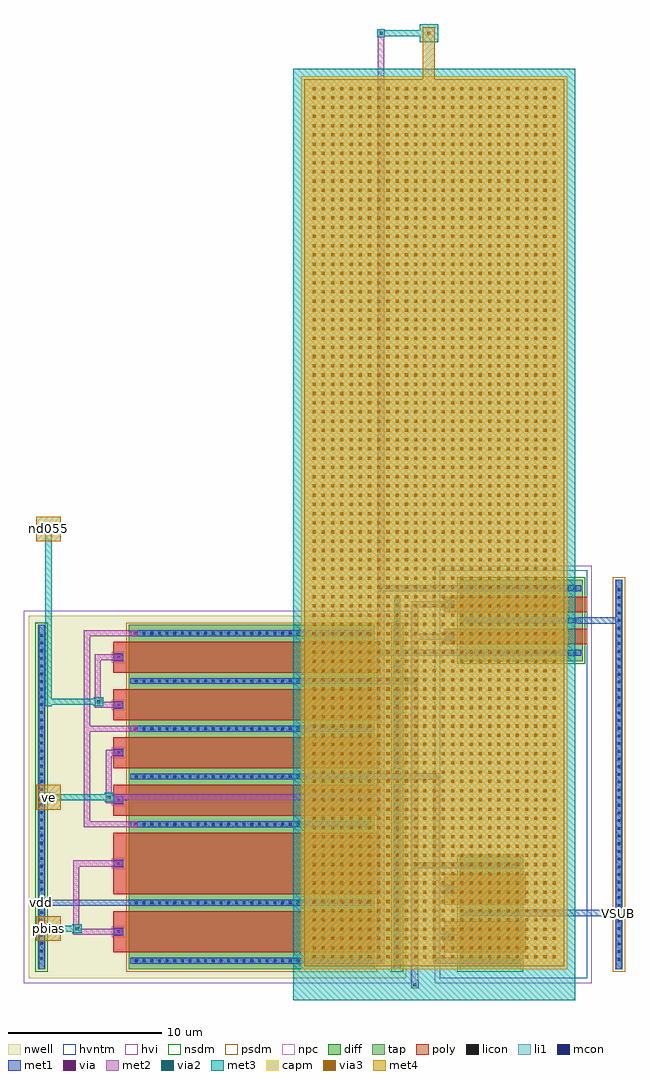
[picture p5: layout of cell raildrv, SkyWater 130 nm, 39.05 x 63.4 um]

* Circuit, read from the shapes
.subckt raildrv VSUB nd055 pbias vdd ve
XM1 VSUB n1 n1 VSUB sky130_fd_pr__nfet_g5v0d10v5 w=4 l=2
XM2 n2 n1 VSUB VSUB sky130_fd_pr__nfet_g5v0d10v5 w=4 l=2
XM3 VSUB n2 ve VSUB sky130_fd_pr__nfet_g5v0d10v5 w=8 l=1 m=2
XM4 vdd pbias ve vdd sky130_fd_pr__pfet_g5v0d10v5 w=16 l=2.67
XM5 n3 pbias vdd vdd sky130_fd_pr__pfet_g5v0d10v5 w=16 l=4
XM6 n1 ve n3 vdd sky130_fd_pr__pfet_g5v0d10v5 w=16 l=2 m=2
XM7 n2 nd055 n3 vdd sky130_fd_pr__pfet_g5v0d10v5 w=16 l=2 m=2
XC8 ve n2 sky130_fd_pr__cap_mim_m3_1 w=17.3 l=58
.ends

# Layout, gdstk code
import gdstk
lib = gdstk.Library(unit=1e-6, precision=1e-09)
def R(c, l, rs):  # rectangles x0, y0, x1, y1
    for r in rs: c.add(gdstk.rectangle(r[:2], r[2:], *l))
def A(c, l, x, y, w, h, nx, ny, dx, dy):  # array of equal rectangles
    R(c, l, [(x+i*dx, y+j*dy, x+i*dx+w, y+j*dy+h) for i in range(nx) for j in range(ny)])
nwell = (64, 20)
diff = (65, 20)
tap = (65, 44)
poly = (66, 20)
licon = (66, 44)
li1 = (67, 20)
mcon = (67, 44)
met1 = (68, 20)
via = (68, 44)
met2 = (69, 20)
via2 = (69, 44)
met3 = (70, 20)
via3 = (70, 44)
met4 = (71, 20)
hvi = (75, 20)
capm = (89, 44)
nsdm = (93, 44)
psdm = (94, 20)
npc = (95, 20)
hvntm = (125, 20)

raildrv = lib.new_cell('raildrv')
R(raildrv, nwell, [(-25.5,0.4,-0.95,23.97)])
R(raildrv, diff, [(-19,1,-3,23.37), (2.5,1,6.5,8.3), (2.5,21,10.5,26.3)])
R(raildrv, tap, [(-24.9,1,-24.4,23.37), (-1.8,1,-1.3,23.37), (12.6,1,13.1,26.3)])
A(raildrv, poly, -20, 10.97, 17.3, 2, 1, 4, 0, 3.1)
R(raildrv, poly, [(-20,2.1,-2.7,4.77), (1.5,2.1,6.8,4.1), (1.5,5.2,6.8,7.2), (-20,5.87,-2.7,9.87), (1.5,22.1,10.8,23.1), (1.5,24.2,10.8,25.2)])
A(raildrv, licon, -1.635, 1.425, 0.17, 0.17, 1, 23, 0, 0.5)
A(raildrv, licon, -18.585, 1.465, 0.17, 0.17, 31, 2, 0.5, 3.77)
A(raildrv, licon, 2.915, 1.465, 0.17, 0.17, 7, 3, 0.5, 3.1)
A(raildrv, licon, 12.765, 1.565, 0.17, 0.17, 1, 49, 0, 0.5)
A(raildrv, licon, -24.735, 1.6, 0.17, 0.17, 1, 43, 0, 0.5)
A(raildrv, licon, -18.585, 10.335, 0.17, 0.17, 31, 5, 0.5, 3.1)
A(raildrv, licon, -19.735, 11.885, 0.17, 0.17, 1, 4, 0, 3.1)
A(raildrv, licon, -1.635, 14.535, 0.17, 0.17, 1, 9, 0, 0.5)
A(raildrv, licon, 2.915, 21.465, 0.17, 0.17, 15, 3, 0.5, 2.1)
A(raildrv, licon, -1.635, 22.565, 0.17, 0.17, 1, 5, 0, 0.5)
R(raildrv, licon, [(1.765,3.015,1.935,3.185), (-19.735,3.35,-19.565,3.52), (1.765,6.115,1.935,6.285), (-19.735,7.785,-19.565,7.955), (-1.635,20.55,-1.465,20.72), (1.765,22.515,1.935,22.685), (1.765,24.615,1.935,24.785)])
A(raildrv, li1, 2.6, 1.36, 3.8, 0.38, 1, 3, 0, 3.1)
A(raildrv, li1, -18.9, 10.23, 15.8, 0.38, 1, 5, 0, 3.1)
A(raildrv, li1, -19.95, 11.72, 0.6, 0.5, 1, 4, 0, 3.1)
A(raildrv, li1, 2.6, 21.36, 7.8, 0.38, 1, 3, 0, 2.1)
R(raildrv, li1, [(-24.85,1,-24.45,23.37), (-1.75,1,-1.35,13.02), (12.65,1,13.05,26.3), (-18.9,1.36,-3.1,1.74), (1.55,2.85,2.15,3.35), (-19.95,3.185,-19.35,3.685), (-18.9,5.13,-3.1,5.51), (1.55,5.95,2.15,6.45), (-19.95,7.62,-19.35,8.12), (-1.75,14.02,-1.35,19.22), (-1.75,20.22,-1.35,21.05), (-1.75,22.05,-1.35,25.25), (1.55,22.35,2.15,22.85), (1.55,24.45,2.15,24.95)])
A(raildrv, mcon, -1.635, 1.425, 0.17, 0.17, 1, 23, 0, 0.5)
A(raildrv, mcon, -18.585, 1.465, 0.17, 0.17, 31, 2, 0.5, 3.77)
A(raildrv, mcon, 2.915, 1.465, 0.17, 0.17, 7, 3, 0.5, 3.1)
A(raildrv, mcon, 12.765, 1.565, 0.17, 0.17, 1, 49, 0, 0.5)
A(raildrv, mcon, -24.735, 1.6, 0.17, 0.17, 1, 43, 0, 0.5)
A(raildrv, mcon, -18.585, 10.335, 0.17, 0.17, 31, 5, 0.5, 3.1)
A(raildrv, mcon, -19.735, 11.885, 0.17, 0.17, 1, 4, 0, 3.1)
A(raildrv, mcon, -1.635, 14.535, 0.17, 0.17, 1, 9, 0, 0.5)
A(raildrv, mcon, 2.915, 21.465, 0.17, 0.17, 15, 3, 0.5, 2.1)
A(raildrv, mcon, -1.635, 22.565, 0.17, 0.17, 1, 5, 0, 0.5)
R(raildrv, mcon, [(1.765,3.015,1.935,3.185), (-19.735,3.35,-19.565,3.52), (1.765,6.115,1.935,6.285), (-19.735,7.785,-19.565,7.955), (-1.635,20.55,-1.465,20.72), (1.765,22.515,1.935,22.685), (1.765,24.615,1.935,24.785)])
A(raildrv, met1, 2.6, 1.36, 3.8, 0.38, 1, 3, 0, 3.1)
A(raildrv, met1, -18.9, 10.23, 15.8, 0.38, 1, 5, 0, 3.1)
A(raildrv, met1, -18.79, 10.23, 0.38, 0.38, 1, 3, 0, 6.2)
A(raildrv, met1, -19.95, 11.72, 0.6, 0.5, 1, 4, 0, 3.1)
A(raildrv, met1, -19.84, 11.78, 0.38, 0.38, 1, 4, 0, 3.1)
A(raildrv, met1, 2.6, 21.36, 7.8, 0.38, 1, 3, 0, 2.1)
R(raildrv, met1, [(-24.85,1,-24.45,23.37), (-1.75,1,-1.35,13.02), (12.65,1,13.05,26.3), (-3.3,1.35,-2.4,1.75), (0.8,1.35,2.8,1.75), (-18.9,1.36,-3.1,1.74), (-2.79,1.36,-2.41,1.74), (0.81,1.36,1.19,1.74), (1.55,2.85,2.15,3.35), (1.66,2.91,2.04,3.29), (-19.95,3.185,-19.35,3.685), (-19.84,3.245,-19.46,3.625), (6.2,4.45,13.05,4.85), (-24.85,5.12,-18.4,5.52), (-18.9,5.13,-3.1,5.51), (1.55,5.95,2.15,6.45), (1.66,6.01,2.04,6.39), (-0.6,7.55,2.8,7.95), (-0.59,7.56,-0.21,7.94), (-19.95,7.62,-19.35,8.12), (-19.84,7.68,-19.46,8.06), (-3.3,13.32,1.2,13.72), (0.81,13.33,1.19,13.71), (-1.75,14.02,-1.35,19.22), (-3.3,19.52,-0.2,19.92), (-0.59,19.53,-0.21,19.91), (-1.75,20.22,-1.35,21.05), (-2.8,21.35,2.8,21.75), (-2.79,21.36,-2.41,21.74), (-1.75,22.05,-1.35,25.25), (1.55,22.35,2.15,22.85), (1.66,22.41,2.04,22.79), (10.2,23.45,13.05,23.85), (1.55,24.45,2.15,24.95), (1.66,24.51,2.04,24.89), (-2.8,25.55,2.8,25.95), (-2.79,25.56,-2.41,25.94)])
A(raildrv, via, -18.675, 10.345, 0.15, 0.15, 1, 3, 0, 6.2)
A(raildrv, via, -19.725, 11.895, 0.15, 0.15, 1, 4, 0, 3.1)
R(raildrv, via, [(-2.675,1.475,-2.525,1.625), (0.925,1.475,1.075,1.625), (1.775,3.025,1.925,3.175), (-19.725,3.36,-19.575,3.51), (1.775,6.125,1.925,6.275), (-0.475,7.675,-0.325,7.825), (-19.725,7.795,-19.575,7.945), (0.925,13.445,1.075,13.595), (-0.475,19.645,-0.325,19.795), (-2.675,21.475,-2.525,21.625), (1.775,22.525,1.925,22.675), (1.775,24.625,1.925,24.775), (-2.675,25.675,-2.525,25.825)])
A(raildrv, met2, -21.9, 10.22, 3.5, 0.4, 1, 3, 0, 6.2)
A(raildrv, met2, -18.79, 10.23, 0.38, 0.38, 1, 3, 0, 6.2)
A(raildrv, met2, -19.84, 11.78, 0.38, 0.38, 1, 4, 0, 3.1)
R(raildrv, met2, [(-0.65,-0.25,-0.15,0.25), (-0.6,-0.2,-0.2,19.92), (-2.8,1.35,-2.4,25.95), (-2.8,1.35,-2.4,62), (0.8,1.35,1.2,13.72), (-2.79,1.36,-2.41,1.74), (0.81,1.36,1.19,1.74), (-2.8,1.55,-2.4,12.17), (0.8,2.9,1.2,6.4), (0.8,2.9,2.05,3.3), (1.66,2.91,2.04,3.29), (-22.6,3.235,-19.45,3.635), (-22.6,3.235,-22.2,8.07), (-19.84,3.245,-19.46,3.625), (-22.54,3.445,-22.16,3.825), (0.8,6,2.05,6.4), (1.66,6.01,2.04,6.39), (-0.6,7.55,-0.2,19.92), (-0.59,7.56,-0.21,7.94), (-22.6,7.67,-19.45,8.07), (-19.84,7.68,-19.46,8.06), (-21.9,10.22,-21.5,23.02), (-20.5,11.77,-20.1,15.27), (-20.5,11.77,-19.45,12.17), (-20.2,11.97,-2.6,12.37), (-20.44,11.98,-20.06,12.36), (0.81,13.33,1.19,13.71), (-20.5,14.87,-19.45,15.27), (-21.2,17.97,-20.8,21.47), (-21.2,17.97,-19.45,18.37), (-21.14,18.18,-20.76,18.56), (-0.6,19.52,-0.2,24.9), (-0.59,19.53,-0.21,19.91), (-21.2,21.07,-19.45,21.47), (-2.79,21.36,-2.41,21.74), (-0.6,22.4,2.05,22.8), (-0.6,22.4,-0.2,24.9), (1.66,22.41,2.04,22.79), (-0.6,24.5,2.05,24.9), (1.66,24.51,2.04,24.89), (-2.79,25.56,-2.41,25.94), (-2.85,61.55,-2.35,62.05)])
R(raildrv, via2, [(-0.5,-0.1,-0.3,0.1), (-22.45,3.535,-22.25,3.735), (-20.35,12.07,-20.15,12.27), (-21.05,18.27,-20.85,18.47), (-2.7,61.7,-2.5,61.9)])
R(raildrv, met3, [(-8.3,-1,10,59.5), (-0.65,-0.25,-0.15,0.25), (-24.5,3.335,-23.9,3.935), (-22.65,3.335,-22.05,3.935), (-22.6,3.385,-22.1,3.885), (-24.2,3.435,-22.35,3.835), (-24.5,11.87,-23.9,12.47), (-20.55,11.87,-19.95,12.47), (-20.5,11.92,-20,12.42), (-24.2,11.97,-20.25,12.37), (-24.4,18.07,-24,29.9), (-21.25,18.07,-20.65,18.67), (-21.2,18.12,-20.7,18.62), (-24.2,18.17,-20.95,18.57), (-24.5,29.3,-23.9,29.9), (-0.1,61.2,1.1,62.4), (-2.85,61.55,-2.35,62.05), (0.25,61.55,0.75,62.05), (-2.8,61.6,0.7,62)])
A(raildrv, via3, -7.05, 1.7, 0.2, 0.2, 27, 95, 0.6, 0.6)
R(raildrv, via3, [(-24.3,3.535,-24.1,3.735), (-24.3,12.07,-24.1,12.27), (-24.3,29.5,-24.1,29.7), (0.4,61.7,0.6,61.9)])
R(raildrv, met4, [(-7.6,1.2,9.3,58.8), (-25,2.835,-23.4,4.435), (-25,11.37,-23.4,12.97), (-25,28.8,-23.4,30.4), (0.1,57.8,0.9,62.2), (0.25,61.55,0.75,62.05)])
R(raildrv, hvi, [(-25.8,0.1,-0.65,24.27), (0.9,0.1,11.1,27.2)])
R(raildrv, capm, [(-7.8,1,9.5,59)])
R(raildrv, nsdm, [(-25.05,0.85,-24.25,23.52), (-1.95,0.85,-1.15,23.52), (2.35,0.85,6.65,8.45), (2.35,20.85,10.65,26.45)])
R(raildrv, psdm, [(-19.15,0.85,-2.85,23.52), (12.45,0.85,13.25,26.45)])
A(raildrv, npc, -20.1, 11.62, 0.9, 0.7, 1, 4, 0, 3.1)
R(raildrv, npc, [(1.4,2.75,2.3,3.45), (-20.1,3.085,-19.2,3.785), (1.4,5.85,2.3,6.55), (-20.1,7.52,-19.2,8.22), (1.4,22.25,2.3,22.95), (1.4,24.35,2.3,25.05)])
R(raildrv, hvntm, [(1.2,0.4,10.8,26.9)])
raildrv.add(gdstk.Label('VSUB', (12.85,4.65), layer=68, texttype=5))
raildrv.add(gdstk.Label('vdd', (-24.65,5.32), layer=68, texttype=5))
raildrv.add(gdstk.Label('pbias', (-24.2,3.635), layer=71, texttype=5))
raildrv.add(gdstk.Label('nd055', (-24.2,29.6), layer=71, texttype=5))
raildrv.add(gdstk.Label('ve', (-24.2,12.17), layer=71, texttype=5))

lib.write_gds('raildrv.gds')
